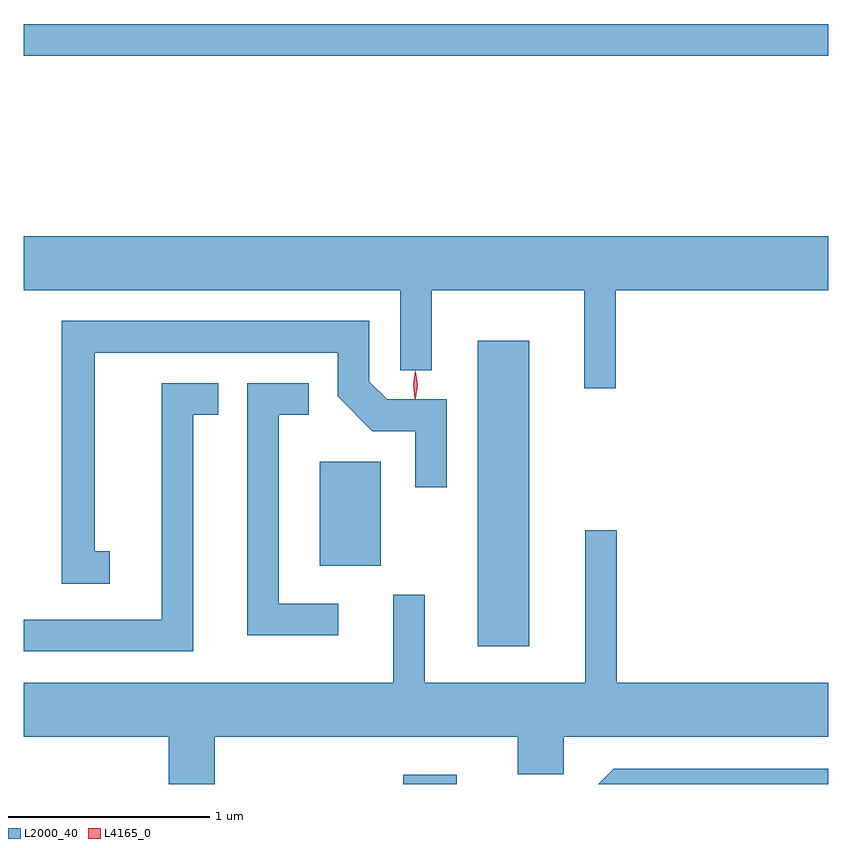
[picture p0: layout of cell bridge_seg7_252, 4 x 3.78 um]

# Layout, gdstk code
import gdstk
lib = gdstk.Library(unit=1e-6, precision=1e-09)
def R(c, l, rs):  # rectangles x0, y0, x1, y1
    for r in rs: c.add(gdstk.rectangle(r[:2], r[2:], *l))
def P(c, l, *ps):  # polygons
    for p in ps: c.add(gdstk.Polygon(p, *l))
L2000_40 = (2000, 40)
L4165_0 = (4165, 0)

bridge_seg7_252 = lib.new_cell('bridge_seg7_252')
R(bridge_seg7_252, L2000_40, [(1784.836,1714.082,1785.104,1714.129), (1785.206,1714.766,1785.464,1716.284), (1784.421,1715.166,1784.724,1715.684), (1782.95,1717.701,1786.95,1717.859)])
P(bridge_seg7_252, L2000_40, [(1785.894,1716.536),(1786.95,1716.536),(1786.95,1716.804),(1782.95,1716.804),(1782.95,1716.536),(1784.821,1716.536),(1784.821,1716.138),(1784.979,1716.138),(1784.979,1716.536),(1785.736,1716.536),(1785.736,1716.048),(1785.894,1716.048)],
  [(1783.378,1715.239),(1783.304,1715.239),(1783.304,1716.226),(1784.511,1716.226),(1784.511,1716.009),(1784.684,1715.836),(1784.896,1715.836),(1784.896,1715.558),(1785.054,1715.558),(1785.054,1715.994),(1784.757,1715.994),(1784.669,1716.082),(1784.669,1716.384),(1783.141,1716.384),(1783.141,1715.076),(1783.378,1715.076)],
  [(1783.794,1715.916),(1783.918,1715.916),(1783.918,1716.074),(1783.636,1716.074),(1783.636,1714.899),(1782.95,1714.899),(1782.95,1714.741),(1783.794,1714.741)],
  [(1784.513,1714.979),(1784.219,1714.979),(1784.219,1715.916),(1784.368,1715.916),(1784.368,1716.074),(1784.061,1716.074),(1784.061,1714.821),(1784.513,1714.821)],
  [(1783.899,1714.316),(1785.406,1714.316),(1785.406,1714.131),(1785.634,1714.131),(1785.634,1714.316),(1786.95,1714.316),(1786.95,1714.584),(1785.899,1714.584),(1785.899,1715.343),(1785.741,1715.343),(1785.741,1714.584),(1784.944,1714.584),(1784.944,1715.023),(1784.786,1715.023),(1784.786,1714.584),(1782.95,1714.584),(1782.95,1714.316),(1783.671,1714.316),(1783.671,1714.082),(1783.899,1714.082)],
  [(1786.95,1714.159),(1785.884,1714.159),(1785.807,1714.082),(1786.95,1714.082)])
P(bridge_seg7_252, L4165_0, [(1784.898,1715.999),(1784.898,1715.999),(1784.889,1716.066),(1784.899,1716.132),(1784.899,1716.132),(1784.9,1716.132),(1784.909,1716.065),(1784.899,1715.999)],
  [(1784.895,1715.996),(1784.895,1715.997),(1784.886,1716.066),(1784.896,1716.135),(1784.896,1716.136),(1784.897,1716.135),(1784.906,1716.066),(1784.896,1715.997)])

lib.write_gds('bridge_seg7_252.gds')
